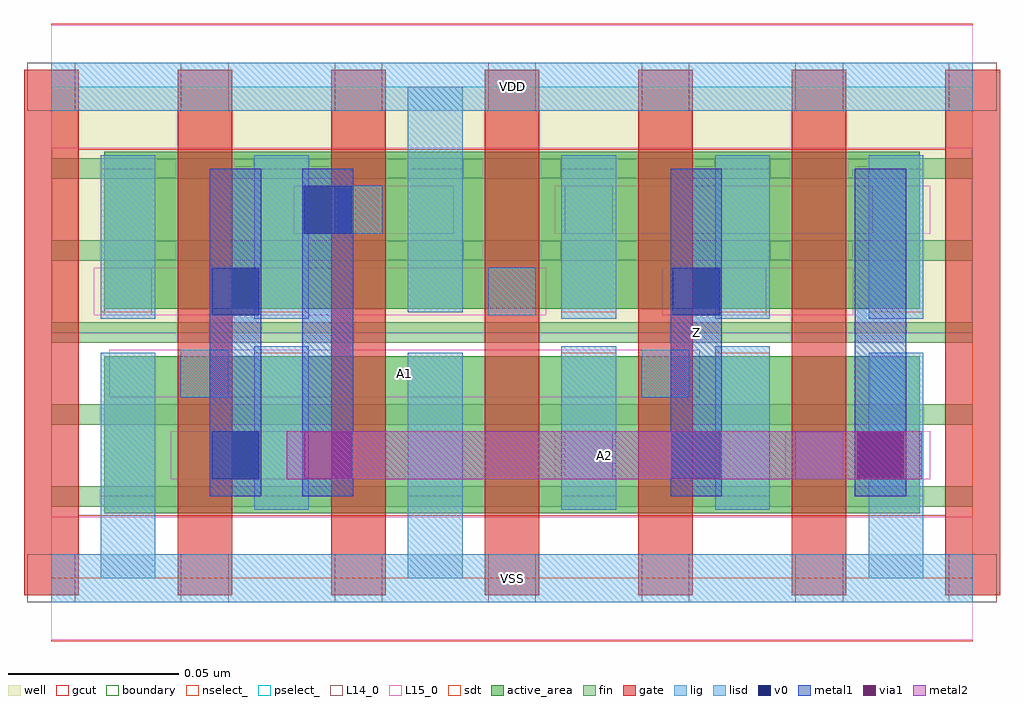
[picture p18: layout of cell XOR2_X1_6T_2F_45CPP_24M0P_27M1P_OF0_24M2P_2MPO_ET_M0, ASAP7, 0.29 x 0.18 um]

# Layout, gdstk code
import gdstk
lib = gdstk.Library(unit=1e-6, precision=2.5e-10)
def R(c, l, rs):  # rectangles x0, y0, x1, y1
    for r in rs: c.add(gdstk.rectangle(r[:2], r[2:], *l))
def A(c, l, x, y, w, h, nx, ny, dx, dy):  # array of equal rectangles
    R(c, l, [(x+i*dx, y+j*dy, x+i*dx+w, y+j*dy+h) for i in range(nx) for j in range(ny)])
well = (1, 0)
fin = (2, 0)
gate = (7, 0)
gcut = (10, 0)
active_area = (11, 0)
nselect_ = (12, 0)
pselect_ = (13, 0)
L14_0 = (14, 0)
L15_0 = (15, 0)
lig = (16, 0)
lisd = (17, 0)
v0 = (18, 0)
metal1 = (19, 0)
metal2 = (20, 0)
via1 = (21, 0)
sdt = (88, 0)
boundary = (100, 0)

xor2_x1_6t_2f_45cpp_24m0 = lib.new_cell('XOR2_X1_6T_2F_45CPP_24M0P_27M1P_OF0_24M2P_2MPO_ET_M0')
R(xor2_x1_6t_2f_45cpp_24m0, well, [(0,0.072,0.27,0.144)])
A(xor2_x1_6t_2f_45cpp_24m0, fin, 0, 0.021, 0.27, 0.006, 1, 5, 0, 0.024)
A(xor2_x1_6t_2f_45cpp_24m0, gate, -0.008, -0.005, 0.016, 0.154, 7, 1, 0.045, 0)
R(xor2_x1_6t_2f_45cpp_24m0, gcut, [(0,-0.0185,0.27,0.0185), (-0.008,-0.005,0.008,0.149), (0.262,-0.005,0.278,0.149), (0,0.1255,0.27,0.1625)])
A(xor2_x1_6t_2f_45cpp_24m0, active_area, 0.0155, 0.019, 0.059, 0.046, 5, 2, 0.045, 0.06)
R(xor2_x1_6t_2f_45cpp_24m0, nselect_, [(0,0,0.27,0.072)])
R(xor2_x1_6t_2f_45cpp_24m0, pselect_, [(0,0.072,0.27,0.144)])
A(xor2_x1_6t_2f_45cpp_24m0, L14_0, -0.007, -0.007, 0.014, 0.014, 7, 2, 0.045, 0.144)
R(xor2_x1_6t_2f_45cpp_24m0, L14_0, [(0.0605,0.029,0.0745,0.043), (0.1505,0.029,0.1645,0.043), (0.218,0.029,0.232,0.043), (0.038,0.053,0.052,0.067), (0.173,0.053,0.187,0.067), (0.0155,0.077,0.0295,0.091), (0.128,0.077,0.142,0.091), (0.1955,0.077,0.2095,0.091), (0.083,0.101,0.097,0.115), (0.1505,0.101,0.1645,0.115), (0.2405,0.101,0.2545,0.115)])
R(xor2_x1_6t_2f_45cpp_24m0, L15_0, [(0,-0.018,0.27,0.018), (0.035,0.029,0.0775,0.043), (0.1475,0.029,0.199,0.043), (0.215,0.029,0.2575,0.043), (0.017,0.053,0.19,0.067), (0.0125,0.077,0.145,0.091), (0.179,0.077,0.235,0.091), (0.071,0.101,0.118,0.115), (0.1475,0.101,0.2575,0.115), (0,0.126,0.27,0.162)])
R(xor2_x1_6t_2f_45cpp_24m0, lig, [(0,-0.007,0.27,0.007), (0.218,0.029,0.232,0.043), (0.038,0.053,0.052,0.067), (0.173,0.053,0.187,0.067), (0.128,0.077,0.142,0.091), (0.083,0.101,0.097,0.115), (0,0.137,0.27,0.151)])
A(xor2_x1_6t_2f_45cpp_24m0, lisd, 0.1495, 0.076, 0.016, 0.048, 3, 1, 0.045, 0)
R(xor2_x1_6t_2f_45cpp_24m0, lisd, [(0.0145,0,0.0305,0.066), (0.1045,0,0.1205,0.066), (0.2395,0,0.2555,0.066), (0.0595,0.02,0.0755,0.068), (0.1495,0.02,0.1655,0.068), (0.1945,0.02,0.2105,0.068), (0.0145,0.076,0.0305,0.124), (0.0595,0.076,0.0755,0.124), (0.1045,0.078,0.1205,0.144)])
R(xor2_x1_6t_2f_45cpp_24m0, v0, [(0.047,0.029,0.061,0.043), (0.182,0.029,0.196,0.043), (0.236,0.029,0.25,0.043), (0.047,0.077,0.061,0.091), (0.182,0.077,0.196,0.091), (0.074,0.101,0.088,0.115)])
R(xor2_x1_6t_2f_45cpp_24m0, metal1, [(0.0465,0.024,0.0615,0.12), (0.0735,0.024,0.0885,0.12), (0.1815,0.024,0.1965,0.12), (0.2355,0.024,0.2505,0.12)])
R(xor2_x1_6t_2f_45cpp_24m0, metal2, [(0.069,0.029,0.255,0.043)])
R(xor2_x1_6t_2f_45cpp_24m0, via1, [(0.074,0.029,0.088,0.043), (0.236,0.029,0.25,0.043)])
A(xor2_x1_6t_2f_45cpp_24m0, sdt, 0.0145, 0.024, 0.016, 0.042, 6, 2, 0.045, 0.054)
R(xor2_x1_6t_2f_45cpp_24m0, boundary, [(0,0,0.27,0.144)])
xor2_x1_6t_2f_45cpp_24m0.add(gdstk.Label('A1', (0.1035,0.06), layer=15, texttype=251))
xor2_x1_6t_2f_45cpp_24m0.add(gdstk.Label('VDD', (0.135,0.144), layer=15, texttype=251))
xor2_x1_6t_2f_45cpp_24m0.add(gdstk.Label('VSS', (0.135,0), layer=15, texttype=251))
xor2_x1_6t_2f_45cpp_24m0.add(gdstk.Label('VDD', (0.135,0.144), layer=1, texttype=251))
xor2_x1_6t_2f_45cpp_24m0.add(gdstk.Label('VSS', (0.135,0), layer=3, texttype=251))
xor2_x1_6t_2f_45cpp_24m0.add(gdstk.Label('A2', (0.162,0.036), layer=20, texttype=251))
xor2_x1_6t_2f_45cpp_24m0.add(gdstk.Label('Z', (0.189,0.072), layer=19, texttype=251))

lib.write_gds('XOR2_X1_6T_2F_45CPP_24M0P_27M1P_OF0_24M2P_2MPO_ET_M0.gds')
